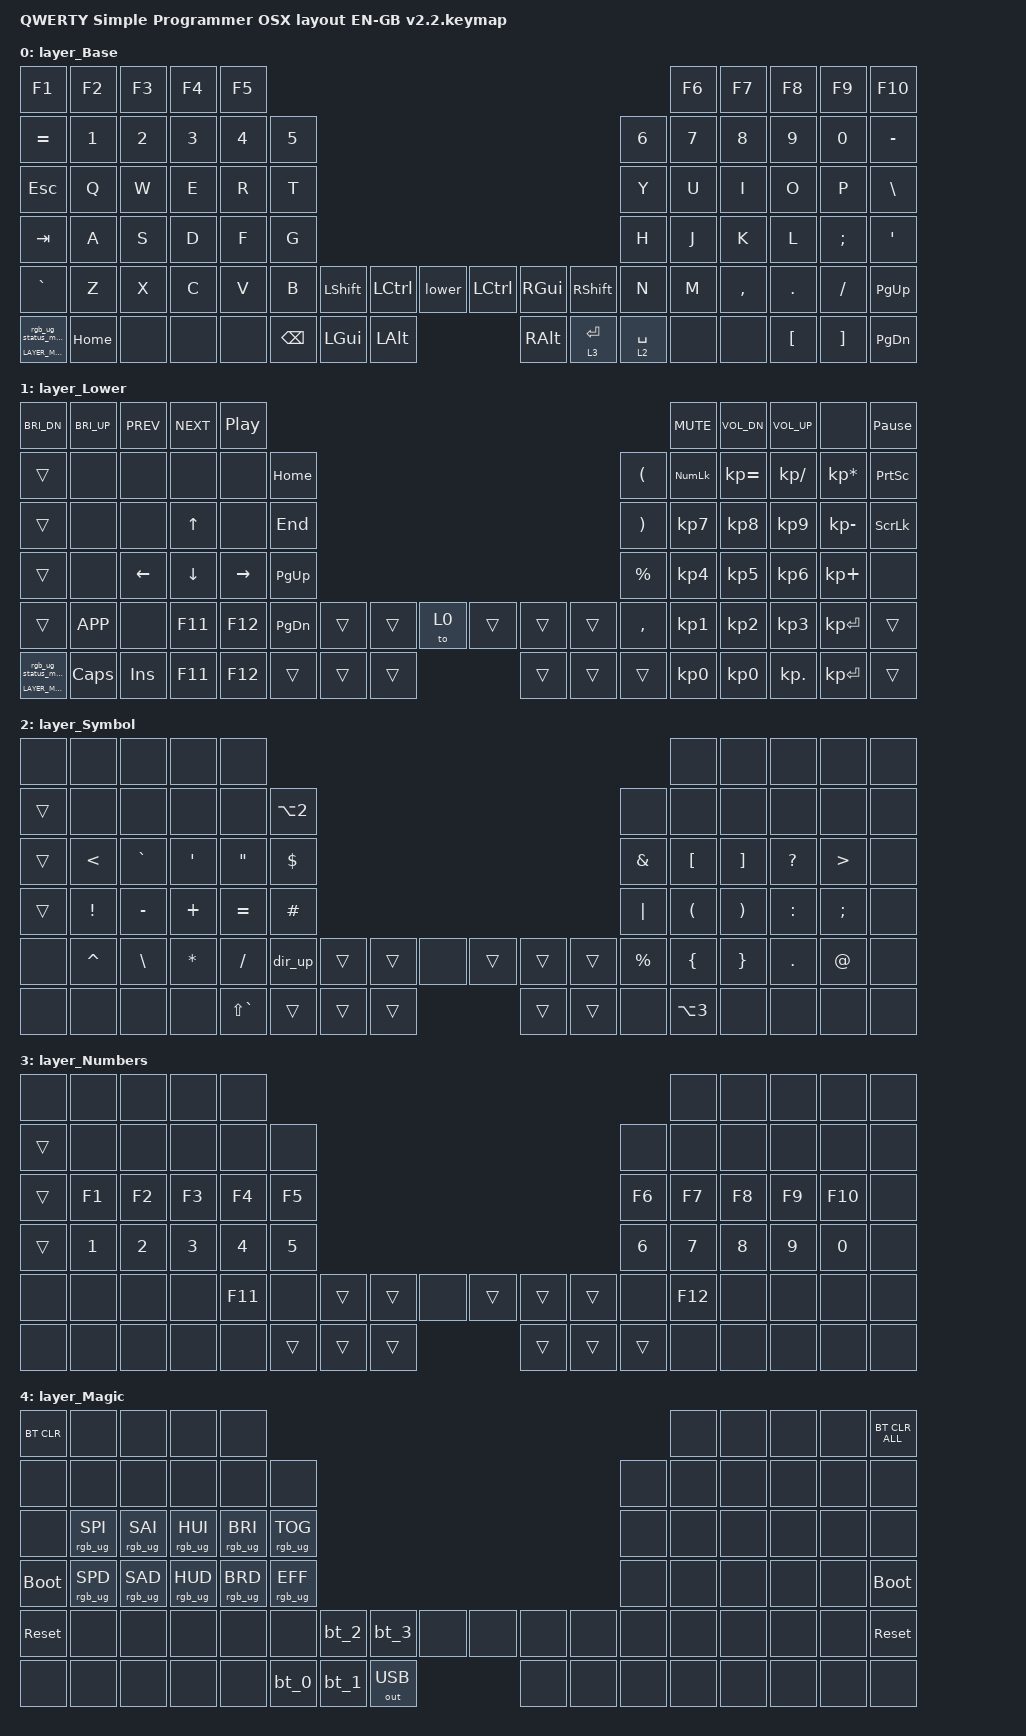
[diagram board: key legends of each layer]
/*
 * Copyright (c) 2020 The ZMK Contributors
 * Copyright (c) 2025 Innaworks Development Limited, trading as MoErgo
 *
 * SPDX-License-Identifier: MIT
 */


/* THIS FILE WAS GENERATED BY GLOVE80 LAYOUT EDITOR
 *
 * This file was generated automatically. You may or may not want to
 * edit it directly.
 */

#include <behaviors.dtsi>
/* Include all behavior includes needed */
#include <dt-bindings/zmk/outputs.h>
#include <dt-bindings/zmk/keys.h>
#include <dt-bindings/zmk/bt.h>
#include <dt-bindings/zmk/rgb.h>

/* On demand includes */


/* Automatically generated layer name #define */
#define LAYER_Base 0
#define LAYER_Lower 1
#define LAYER_Symbol 2
#define LAYER_Numbers 3
#define LAYER_Magic 4

/* To deal with the situation where there is no Lower layer, to keep &lower happy */
#ifndef LAYER_Lower
#define LAYER_Lower 0
#endif

/* Custom Device-tree */
&lt {
    tapping-term-ms = <300>;
};

/* Input Listeners */


/* System behavior and Macros */
/ {
    behaviors {
        // For the "layer" key, it'd nice to be able to use it as either a shift or a toggle.
        // Configure it as a tap dance, so the first tap (or hold) is a &mo and the second tap is a &to
        lower: lower {
            compatible = "zmk,behavior-tap-dance";
            label = "LAYER_TAP_DANCE";
            #binding-cells = <0>;
            tapping-term-ms = <200>;
            bindings = <&mo LAYER_Lower>, <&to LAYER_Lower>;
        };
    };
};

/ {
    macros {
        rgb_ug_status_macro: rgb_ug_status_macro {
            label = "RGB_UG_STATUS";
            compatible = "zmk,behavior-macro";
            #binding-cells = <0>;
            bindings
                = <&rgb_ug RGB_STATUS>;
        };
    };
};


/ {
#ifdef BT_DISC_CMD
    behaviors {
        bt_0: bt_0 {
            compatible = "zmk,behavior-tap-dance";
            label = "BT_0";
            #binding-cells = <0>;
            tapping-term-ms = <200>;
            bindings = <&bt_select_0>, <&bt BT_DISC 0>;
        };
        bt_1: bt_1 {
            compatible = "zmk,behavior-tap-dance";
            label = "BT_1";
            #binding-cells = <0>;
            tapping-term-ms = <200>;
            bindings = <&bt_select_1>, <&bt BT_DISC 1>;
        };
        bt_2: bt_2 {
            compatible = "zmk,behavior-tap-dance";
            label = "BT_2";
            #binding-cells = <0>;
            tapping-term-ms = <200>;
            bindings = <&bt_select_2>, <&bt BT_DISC 2>;
        };
        bt_3: bt_3 {
            compatible = "zmk,behavior-tap-dance";
            label = "BT_3";
            #binding-cells = <0>;
            tapping-term-ms = <200>;
            bindings = <&bt_select_3>, <&bt BT_DISC 3>;
        };
    };
    macros {
        bt_select_0: bt_select_0 {
            label = "BT_SELECT_0";
            compatible = "zmk,behavior-macro";
            #binding-cells = <0>;
            bindings
                = <&out OUT_BLE>,
                  <&bt BT_SEL 0>;
        };
        bt_select_1: bt_select_1 {
            label = "BT_SELECT_1";
            compatible = "zmk,behavior-macro";
            #binding-cells = <0>;
            bindings
                = <&out OUT_BLE>,
                  <&bt BT_SEL 1>;
        };
        bt_select_2: bt_select_2 {
            label = "BT_SELECT_2";
            compatible = "zmk,behavior-macro";
            #binding-cells = <0>;
            bindings
                = <&out OUT_BLE>,
                  <&bt BT_SEL 2>;
        };
        bt_select_3: bt_select_3 {
            label = "BT_SELECT_3";
            compatible = "zmk,behavior-macro";
            #binding-cells = <0>;
            bindings
                = <&out OUT_BLE>,
                  <&bt BT_SEL 3>;
        };
    };
#else
    macros {
        bt_0: bt_0 {
            label = "BT_0";
            compatible = "zmk,behavior-macro";
            #binding-cells = <0>;
            bindings
                = <&out OUT_BLE>,
                  <&bt BT_SEL 0>;
        };
        bt_1: bt_1 {
            label = "BT_1";
            compatible = "zmk,behavior-macro";
            #binding-cells = <0>;
            bindings
                = <&out OUT_BLE>,
                  <&bt BT_SEL 1>;
        };
        bt_2: bt_2 {
            label = "BT_2";
            compatible = "zmk,behavior-macro";
            #binding-cells = <0>;
            bindings
                = <&out OUT_BLE>,
                  <&bt BT_SEL 2>;
        };
        bt_3: bt_3 {
            label = "BT_3";
            compatible = "zmk,behavior-macro";
            #binding-cells = <0>;
            bindings
                = <&out OUT_BLE>,
                  <&bt BT_SEL 3>;
        };
    };
#endif
};

/ {
    behaviors {
        magic: magic {
            compatible = "zmk,behavior-hold-tap";
            label = "MAGIC_HOLD_TAP";
            #binding-cells = <2>;
            flavor = "tap-preferred";
            tapping-term-ms = <200>;
            bindings = <&mo>, <&rgb_ug_status_macro>;
        };
    };
};

/* #define for key positions */
#define POS_LH_T1 52
#define POS_LH_T2 53
#define POS_LH_T3 54
#define POS_LH_T4 69
#define POS_LH_T5 70
#define POS_LH_T6 71
#define POS_LH_C1R2 15
#define POS_LH_C1R3 27
#define POS_LH_C1R4 39
#define POS_LH_C1R5 51
#define POS_LH_C2R1 4
#define POS_LH_C2R2 14
#define POS_LH_C2R3 26
#define POS_LH_C2R4 38
#define POS_LH_C2R5 50
#define POS_LH_C2R6 68
#define POS_LH_C3R1 3
#define POS_LH_C3R2 13
#define POS_LH_C3R3 25
#define POS_LH_C3R4 37
#define POS_LH_C3R5 49
#define POS_LH_C3R6 67
#define POS_LH_C4R1 2
#define POS_LH_C4R2 12
#define POS_LH_C4R3 24
#define POS_LH_C4R4 36
#define POS_LH_C4R5 48
#define POS_LH_C4R6 66
#define POS_LH_C5R1 1
#define POS_LH_C5R2 11
#define POS_LH_C5R3 23
#define POS_LH_C5R4 35
#define POS_LH_C5R5 47
#define POS_LH_C5R6 65
#define POS_LH_C6R1 0
#define POS_LH_C6R2 10
#define POS_LH_C6R3 22
#define POS_LH_C6R4 34
#define POS_LH_C6R5 46
#define POS_LH_C6R6 64
#define POS_RH_T1 57
#define POS_RH_T2 56
#define POS_RH_T3 55
#define POS_RH_T4 74
#define POS_RH_T5 73
#define POS_RH_T6 72
#define POS_RH_C1R2 16
#define POS_RH_C1R3 28
#define POS_RH_C1R4 40
#define POS_RH_C1R5 58
#define POS_RH_C2R1 5
#define POS_RH_C2R2 17
#define POS_RH_C2R3 29
#define POS_RH_C2R4 41
#define POS_RH_C2R5 59
#define POS_RH_C2R6 75
#define POS_RH_C3R1 6
#define POS_RH_C3R2 18
#define POS_RH_C3R3 30
#define POS_RH_C3R4 42
#define POS_RH_C3R5 60
#define POS_RH_C3R6 76
#define POS_RH_C4R1 7
#define POS_RH_C4R2 19
#define POS_RH_C4R3 31
#define POS_RH_C4R4 43
#define POS_RH_C4R5 61
#define POS_RH_C4R6 77
#define POS_RH_C5R1 8
#define POS_RH_C5R2 20
#define POS_RH_C5R3 32
#define POS_RH_C5R4 44
#define POS_RH_C5R5 62
#define POS_RH_C5R6 78
#define POS_RH_C6R1 9
#define POS_RH_C6R2 21
#define POS_RH_C6R3 33
#define POS_RH_C6R4 45
#define POS_RH_C6R5 63
#define POS_RH_C6R6 79

/* Custom Defined Behaviors */
/ {

};

/* Automatically generated macro definitions */
/ {
    macros {

        // ../ Quick macro
        dir_up: dir_up {
            label = "&DIR_UP";
            compatible = "zmk,behavior-macro";
            #binding-cells = <0>;
            bindings = <&kp DOT>
                , <&kp DOT>
                , <&kp FSLH>;
        };
    };
};

/* Automatically generated behavior definitions */
/ {
    behaviors {

    };
};

/* Automatically generated combos definitions */


/* Automatically generated keymap */
/ {
    keymap {
        compatible = "zmk,keymap";


        layer_Base {
            bindings = <
               &kp F1    &kp F2  &kp F3  &kp F4  &kp F5                                                                                     &kp F6     &kp F7    &kp F8    &kp F9    &kp F10
            &kp EQUAL    &kp N1  &kp N2  &kp N3  &kp N4  &kp N5                                                                     &kp N6  &kp N7     &kp N8    &kp N9    &kp N0  &kp MINUS
              &kp ESC     &kp Q   &kp W   &kp E   &kp R   &kp T                                                                      &kp Y   &kp U      &kp I     &kp O     &kp P   &kp BSLH
              &kp TAB     &kp A   &kp S   &kp D   &kp F   &kp G                                                                      &kp H   &kp J      &kp K     &kp L  &kp SEMI    &kp SQT
            &kp GRAVE     &kp Z   &kp X   &kp C   &kp V   &kp B  &kp LSHFT  &kp LCTRL    &lower  &kp LCTRL   &kp RGUI    &kp RSHFT   &kp N   &kp M  &kp COMMA   &kp DOT  &kp FSLH  &kp PG_UP
 &magic LAYER_Magic 0  &kp HOME   &none   &none   &none           &kp BSPC   &kp LGUI  &kp LALT   &kp RALT  &lt 3 RET  &lt 2 SPACE           &none      &none  &kp LBKT  &kp RBKT  &kp PG_DN
            >;
        };

        layer_Lower {
            bindings = <
         &kp C_BRI_DN  &kp C_BRI_UP      &kp C_PREV      &kp C_NEXT         &kp C_PP                                                                                    &kp C_MUTE  &kp C_VOL_DN  &kp C_VOL_UP            &none  &kp PAUSE_BREAK
               &trans         &none           &none           &none            &none   &kp HOME                                                   &kp LEFT_PARENTHESIS  &kp KP_NUM  &kp KP_EQUAL  &kp KP_SLASH  &kp KP_MULTIPLY  &kp PRINTSCREEN
               &trans         &none           &none    &kp UP_ARROW            &none    &kp END                                                  &kp RIGHT_PARENTHESIS   &kp KP_N7     &kp KP_N8     &kp KP_N9     &kp KP_MINUS   &kp SCROLLLOCK
               &trans         &none  &kp LEFT_ARROW  &kp DOWN_ARROW  &kp RIGHT_ARROW  &kp PG_UP                                                            &kp PERCENT   &kp KP_N4     &kp KP_N5     &kp KP_N6      &kp KP_PLUS            &none
               &trans     &kp K_APP           &none         &kp F11          &kp F12  &kp PG_DN  &trans  &trans   &to 0  &trans  &trans  &trans              &kp COMMA   &kp KP_N1     &kp KP_N2     &kp KP_N3     &kp KP_ENTER           &trans
 &magic LAYER_Magic 0      &kp CAPS         &kp INS         &kp F11          &kp F12             &trans  &trans  &trans  &trans  &trans  &trans                          &kp KP_N0     &kp KP_N0    &kp KP_DOT     &kp KP_ENTER           &trans
            >;
        };

        layer_Symbol {
            bindings = <
  &none      &none      &none     &none          &none                                                                              &none     &none      &none     &none   &none
 &trans      &none      &none     &none          &none  &kp LA(N2)                                                      &none       &none     &none      &none     &none   &none
 &trans     &kp LT  &kp GRAVE   &kp SQT        &kp DQT    &kp DLLR                                                   &kp AMPS    &kp LBKT  &kp RBKT  &kp QMARK    &kp GT   &none
 &trans   &kp EXCL  &kp MINUS  &kp PLUS      &kp EQUAL    &kp HASH                                                   &kp PIPE    &kp LPAR  &kp RPAR  &kp COLON  &kp SEMI   &none
  &none  &kp CARET   &kp BSLH  &kp STAR       &kp FSLH     &dir_up  &trans  &trans   &none  &trans  &trans  &trans  &kp PRCNT    &kp LBRC  &kp RBRC    &kp DOT    &kp AT   &none
  &none      &none      &none     &none  &kp LS(GRAVE)              &trans  &trans  &trans  &trans  &trans   &none             &kp LA(N3)     &none      &none     &none   &none
            >;
        };

        layer_Numbers {
            bindings = <
  &none   &none   &none   &none    &none                                                                    &none   &none   &none    &none   &none
 &trans   &none   &none   &none    &none   &none                                                   &none    &none   &none   &none    &none   &none
 &trans  &kp F1  &kp F2  &kp F3   &kp F4  &kp F5                                                  &kp F6   &kp F7  &kp F8  &kp F9  &kp F10   &none
 &trans  &kp N1  &kp N2  &kp N3   &kp N4  &kp N5                                                  &kp N6   &kp N7  &kp N8  &kp N9   &kp N0   &none
  &none   &none   &none   &none  &kp F11   &none  &trans  &trans   &none  &trans  &trans  &trans   &none  &kp F12   &none   &none    &none   &none
  &none   &none   &none   &none    &none          &trans  &trans  &trans  &trans  &trans  &trans            &none   &none   &none    &none   &none
            >;
        };

        layer_Magic {
            bindings = <
  &bt BT_CLR            &none            &none            &none            &none                                                                                  &none   &none   &none   &none  &bt BT_CLR_ALL
       &none            &none            &none            &none            &none            &none                                                         &none   &none   &none   &none   &none           &none
       &none  &rgb_ug RGB_SPI  &rgb_ug RGB_SAI  &rgb_ug RGB_HUI  &rgb_ug RGB_BRI  &rgb_ug RGB_TOG                                                         &none   &none   &none   &none   &none           &none
 &bootloader  &rgb_ug RGB_SPD  &rgb_ug RGB_SAD  &rgb_ug RGB_HUD  &rgb_ug RGB_BRD  &rgb_ug RGB_EFF                                                         &none   &none   &none   &none   &none     &bootloader
  &sys_reset            &none            &none            &none            &none            &none   &bt_2   &bt_3         &none   &none   &none   &none   &none   &none   &none   &none   &none      &sys_reset
       &none            &none            &none            &none            &none                    &bt_0   &bt_1  &out OUT_USB   &none   &none   &none           &none   &none   &none   &none           &none
            >;
        };

    };
};
